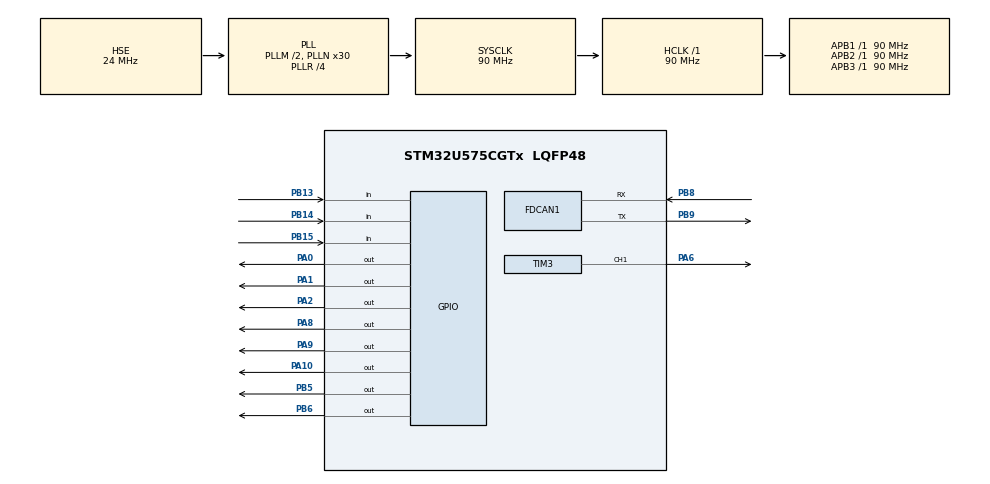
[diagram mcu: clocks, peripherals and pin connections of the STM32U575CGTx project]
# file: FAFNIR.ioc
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CORTEX_M33_NS.userName=CORTEX_M33
FDCAN1.CalculateBaudRateNominal=500000
FDCAN1.CalculateTimeBitNominal=2000
FDCAN1.CalculateTimeQuantumNominal=100.0
FDCAN1.Mode=FDCAN_MODE_NORMAL
FDCAN1.NominalPrescaler=9
FDCAN1.NominalSyncJumpWidth=2
FDCAN1.NominalTimeSeg1=14
FDCAN1.NominalTimeSeg2=5
FDCAN1.StdFiltersNbr=2
Mcu.Family=STM32U5
Mcu.Name=STM32U575CGTx
Mcu.Package=LQFP48
NVIC.FDCAN1_IT0_IRQn=true\:0\:0\:false\:false\:true\:true\:true\:true
NVIC.PriorityGroup=NVIC_PRIORITYGROUP_4
PA0.Signal=GPIO_Output
PA1.Signal=GPIO_Output
PA10.Signal=GPIO_Output
PA13\ (JTMS/SWDIO).Mode=Serial_Wire
PA13\ (JTMS/SWDIO).Signal=DEBUG_JTMS-SWDIO
PA14\ (JTCK/SWCLK).Mode=Serial_Wire
PA14\ (JTCK/SWCLK).Signal=DEBUG_JTCK-SWCLK
PA2.Signal=GPIO_Output
PA6.Signal=S_TIM3_CH1
PA8.Signal=GPIO_Output
PA9.Signal=GPIO_Output
PB13.Signal=GPIO_Input
PB14.Signal=GPIO_Input
PB15.Signal=GPIO_Input
PB5.Signal=GPIO_Output
PB6.Signal=GPIO_Output
PB8.Mode=FDCAN_Activate
PB8.Signal=FDCAN1_RX
PB9.Mode=FDCAN_Activate
PB9.Signal=FDCAN1_TX
PH0-OSC_IN\ (PH0).Mode=HSE-External-Oscillator
PH0-OSC_IN\ (PH0).Signal=RCC_OSC_IN
PH1-OSC_OUT\ (PH1).Mode=HSE-External-Oscillator
PH1-OSC_OUT\ (PH1).Signal=RCC_OSC_OUT
ProjectManager.HeapSize=0x200
ProjectManager.StackSize=0x400
ProjectManager.TargetToolchain=STM32CubeIDE
RCC.ADCFreq_Value=16000000
RCC.AHBFreq_Value=90000000
RCC.APB1Freq_Value=90000000
RCC.APB1TimFreq_Value=90000000
RCC.APB2Freq_Value=90000000
RCC.APB2TimFreq_Value=90000000
RCC.APB3Freq_Value=90000000
RCC.CortexFreq_Value=90000000
RCC.EPOD_VALUE=24000000
RCC.HCLKFreq_Value=90000000
RCC.HSE_VALUE=24000000
RCC.HSI48_VALUE=48000000
RCC.HSI_VALUE=16000000
RCC.LSE_VALUE=32768
RCC.LSIDIV_VALUE=32000
RCC.MSI_VALUE=4000000
RCC.PLL1Q=4
RCC.PLL1R=4
RCC.PLLFRACN=0
RCC.PLLM=2
RCC.PLLN=30
RCC.PLLSourceVirtual=RCC_PLLSOURCE_HSE
RCC.SYSCLKFreq_VALUE=90000000
RCC.SYSCLKSource=RCC_SYSCLKSOURCE_PLLCLK
RCC.USBFreq_Value=48000000
RCC.VCOOutputFreq_Value=360000000
SH.S_TIM3_CH1.0=TIM3_CH1,PWM Generation1 CH1
TIM3.Channel-PWM\ Generation1\ CH1=TIM_CHANNEL_1
TIM3.PeriodNoDither=20000-1
TIM3.Prescaler=90-1
VP_ICACHE_VS_ICACHE.Mode=DirectMappedCache
VP_LPBAMQUEUE_VS_QUEUE.Mode=QUEUEMODE
VP_MEMORYMAP_VS_MEMORYMAP.Mode=CurAppReg
VP_PWR_VS_SECSignals.Mode=Security/Privilege
board=custom

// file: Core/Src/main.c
/* USER CODE BEGIN Header */
/**
  ******************************************************************************
  * @file           : main.c
  * @brief          : Main program body
  ******************************************************************************
  * @attention
  *
  * Copyright (c) 2025 STMicroelectronics.
  * All rights reserved.
  *
  * This software is licensed under terms that can be found in the LICENSE file
  * in the root directory of this software component.
  * If no LICENSE file comes with this software, it is provided AS-IS.
  *
  ******************************************************************************
  */
/* USER CODE END Header */
#include "main.h"

FDCAN_HandleTypeDef hfdcan1;

TIM_HandleTypeDef htim3;

/* USER CODE BEGIN PV */

FDCAN_TxHeaderTypeDef TxHeader;
FDCAN_RxHeaderTypeDef RxHeader;
uint8_t	TxData[8];
uint8_t	RxData[8];

typedef enum {
    STATE_IDLE,
    STATE_INIT,
    STATE_READY,
    STATE_ACTUATE
} State;

typedef enum {
    CMD_NONE,
    CMD_SERVO_ZERO,
    CMD_SERVO_ROTATE,
    CMD_PYRO_ACTUATE,
    CMD_PYRO_DISABLE
} CommandType;

typedef struct {
    CommandType type;
    uint8_t pyroIndex;
    uint16_t angle;
} Command;

State servoState = STATE_IDLE;
State pyroState[NUM_PYROS] = {STATE_IDLE, STATE_IDLE, STATE_IDLE};
uint8_t pyroMask = 0b000;
uint16_t targetAngle = 0;

GPIO_TypeDef* const pyroPort = GPIOA;
const uint16_t pyroPins[NUM_PYROS] = {GPIO_PIN_8, GPIO_PIN_9, GPIO_PIN_10};

GPIO_TypeDef* const pyroDetectPort = GPIOB;
const uint16_t pyroDetectPins[NUM_PYROS] = {GPIO_PIN_15, GPIO_PIN_14, GPIO_PIN_13};

/* USER CODE END PV */

void SystemClock_Config(void);
static void MX_GPIO_Init(void);
static void MX_FDCAN1_Init(void);
static void MX_TIM3_Init(void);
static void MX_ICACHE_Init(void);

int main(void)
{

  /* MCU Configuration--------------------------------------------------------*/

  /* Reset of all peripherals, Initializes the Flash interface and the Systick. */
  HAL_Init();

  /* Configure the system clock */
  SystemClock_Config();

  /* Initialize all configured peripherals */
  MX_GPIO_Init();
  MX_FDCAN1_Init();
  MX_TIM3_Init();
  MX_ICACHE_Init();
  /* USER CODE BEGIN 2 */

   // Start FDCAN1 peripheral
   if (HAL_FDCAN_Start(&hfdcan1) != HAL_OK) {
        Error_Handler();
   }

   // Enable RX FIFO 0 Notification for incoming messages
   if (HAL_FDCAN_ActivateNotification(&hfdcan1, FDCAN_IT_RX_FIFO0_NEW_MESSAGE, 0) != HAL_OK) {
        Error_Handler();
   }

   Command test = {CMD_SERVO_ZERO, 0, 0}; //This should be ignored since servo is still in STATE_IDLE (and actually all systems are)
   processCommand(test);

   forceInit();
   processCommand(test);

  /* USER CODE END 2 */

  /* Infinite loop */
  /* USER CODE BEGIN WHILE */
  while (1) {

	    handleServo();

	    for (int i = 0; i < NUM_PYROS; i++) {
	        handlePyro(i);
	    }

	    /*
	    static uint32_t lastStatusTime = 0;

	    uint32_t now = HAL_GetTick();
	    if (now - lastStatusTime > 500) { //every 0.5 seconds
	        lastStatusTime = now;

	        uint8_t ready = systemReady();
	        uint8_t idle  = systemIdle();

	        uint8_t data[2] = {ready, idle};
	        can_send_std(CAN_ID_STATUS, data, sizeof(data));
	    }

	    */

	    HAL_Delay(20);

    /* USER CODE END WHILE */

  }
}

void SystemClock_Config(void)
{
  RCC_OscInitTypeDef RCC_OscInitStruct = {0};
  RCC_ClkInitTypeDef RCC_ClkInitStruct = {0};

  /** Configure the main internal regulator output voltage
  */
  if (HAL_PWREx_ControlVoltageScaling(PWR_REGULATOR_VOLTAGE_SCALE2) != HAL_OK)
  {
    Error_Handler();
  }

  /** Initializes the CPU, AHB and APB buses clocks
  */
  RCC_OscInitStruct.OscillatorType = RCC_OSCILLATORTYPE_HSE;
  RCC_OscInitStruct.HSEState = RCC_HSE_ON;
  RCC_OscInitStruct.PLL.PLLState = RCC_PLL_ON;
  RCC_OscInitStruct.PLL.PLLSource = RCC_PLLSOURCE_HSE;
  RCC_OscInitStruct.PLL.PLLMBOOST = RCC_PLLMBOOST_DIV2;
  RCC_OscInitStruct.PLL.PLLM = 2;
  RCC_OscInitStruct.PLL.PLLN = 30;
  RCC_OscInitStruct.PLL.PLLP = 2;
  RCC_OscInitStruct.PLL.PLLQ = 4;
  RCC_OscInitStruct.PLL.PLLR = 4;
  RCC_OscInitStruct.PLL.PLLRGE = RCC_PLLVCIRANGE_1;
  RCC_OscInitStruct.PLL.PLLFRACN = 0;
  if (HAL_RCC_OscConfig(&RCC_OscInitStruct) != HAL_OK)
  {
    Error_Handler();
  }

  /** Initializes the CPU, AHB and APB buses clocks
  */
  RCC_ClkInitStruct.ClockType = RCC_CLOCKTYPE_HCLK|RCC_CLOCKTYPE_SYSCLK
                              |RCC_CLOCKTYPE_PCLK1|RCC_CLOCKTYPE_PCLK2
                              |RCC_CLOCKTYPE_PCLK3;
  RCC_ClkInitStruct.SYSCLKSource = RCC_SYSCLKSOURCE_PLLCLK;
  RCC_ClkInitStruct.AHBCLKDivider = RCC_SYSCLK_DIV1;
  RCC_ClkInitStruct.APB1CLKDivider = RCC_HCLK_DIV1;
  RCC_ClkInitStruct.APB2CLKDivider = RCC_HCLK_DIV1;
  RCC_ClkInitStruct.APB3CLKDivider = RCC_HCLK_DIV1;

  if (HAL_RCC_ClockConfig(&RCC_ClkInitStruct, FLASH_LATENCY_2) != HAL_OK)
  {
    Error_Handler();
  }
}

static void MX_FDCAN1_Init(void)
{

  hfdcan1.Instance = FDCAN1;
  hfdcan1.Init.ClockDivider = FDCAN_CLOCK_DIV1;
  hfdcan1.Init.FrameFormat = FDCAN_FRAME_CLASSIC;
  hfdcan1.Init.Mode = FDCAN_MODE_NORMAL;
  hfdcan1.Init.AutoRetransmission = DISABLE;
  hfdcan1.Init.TransmitPause = DISABLE;
  hfdcan1.Init.ProtocolException = DISABLE;
  hfdcan1.Init.NominalPrescaler = 9;
  hfdcan1.Init.NominalSyncJumpWidth = 2;
  hfdcan1.Init.NominalTimeSeg1 = 14;
  hfdcan1.Init.NominalTimeSeg2 = 5;
  hfdcan1.Init.DataPrescaler = 1;
  hfdcan1.Init.DataSyncJumpWidth = 1;
  hfdcan1.Init.DataTimeSeg1 = 1;
  hfdcan1.Init.DataTimeSeg2 = 1;
  hfdcan1.Init.StdFiltersNbr = 2;
  hfdcan1.Init.ExtFiltersNbr = 0;
  hfdcan1.Init.TxFifoQueueMode = FDCAN_TX_FIFO_OPERATION;
  if (HAL_FDCAN_Init(&hfdcan1) != HAL_OK)
  {
    Error_Handler();
  }
  /* USER CODE BEGIN FDCAN1_Init 2 */

  HAL_NVIC_SetPriority(FDCAN1_IT0_IRQn, 0, 0);
  HAL_NVIC_EnableIRQ(FDCAN1_IT0_IRQn);

  FDCAN_FilterTypeDef sFilterConfig;

  // Filter for CAN_ID_SERVO_ZERO
  sFilterConfig.IdType = FDCAN_STANDARD_ID;
  sFilterConfig.FilterIndex = 0;
  sFilterConfig.FilterType = FDCAN_FILTER_MASK;
  sFilterConfig.FilterConfig = FDCAN_FILTER_TO_RXFIFO0;
  sFilterConfig.FilterID1 = CAN_ID_SERVO_ZERO ;
  sFilterConfig.FilterID2 = 0x7FF;
  HAL_FDCAN_ConfigFilter(&hfdcan1, &sFilterConfig);

  // Filter for CAN_ID_SERVO_ROTATE
   sFilterConfig.IdType = FDCAN_STANDARD_ID;
   sFilterConfig.FilterIndex = 1;
   sFilterConfig.FilterType = FDCAN_FILTER_MASK;
   sFilterConfig.FilterConfig = FDCAN_FILTER_TO_RXFIFO0;
   sFilterConfig.FilterID1 = CAN_ID_SERVO_ROTATE;
   sFilterConfig.FilterID2 = 0x7FF;
   HAL_FDCAN_ConfigFilter(&hfdcan1, &sFilterConfig);

  TxHeader.IdType              = FDCAN_STANDARD_ID;
  TxHeader.TxFrameType         = FDCAN_DATA_FRAME;
  TxHeader.FDFormat            = FDCAN_CLASSIC_CAN;
  TxHeader.BitRateSwitch       = FDCAN_BRS_OFF;
  TxHeader.ErrorStateIndicator = FDCAN_ESI_ACTIVE;
  TxHeader.TxEventFifoControl  = FDCAN_NO_TX_EVENTS;
  TxHeader.MessageMarker       = 0;

  /* USER CODE END FDCAN1_Init 2 */

}

static void MX_ICACHE_Init(void)
{

  /** Enable instruction cache in 1-way (direct mapped cache)
  */
  if (HAL_ICACHE_ConfigAssociativityMode(ICACHE_1WAY) != HAL_OK)
  {
    Error_Handler();
  }
  if (HAL_ICACHE_Enable() != HAL_OK)
  {
    Error_Handler();
  }

}

static void MX_TIM3_Init(void)
{

  TIM_MasterConfigTypeDef sMasterConfig = {0};
  TIM_OC_InitTypeDef sConfigOC = {0};

  htim3.Instance = TIM3;
  htim3.Init.Prescaler = 90-1;
  htim3.Init.CounterMode = TIM_COUNTERMODE_UP;
  htim3.Init.Period = 19999;
  htim3.Init.ClockDivision = TIM_CLOCKDIVISION_DIV1;
  htim3.Init.AutoReloadPreload = TIM_AUTORELOAD_PRELOAD_DISABLE;
  if (HAL_TIM_PWM_Init(&htim3) != HAL_OK)
  {
    Error_Handler();
  }
  sMasterConfig.MasterOutputTrigger = TIM_TRGO_RESET;
  sMasterConfig.MasterSlaveMode = TIM_MASTERSLAVEMODE_DISABLE;
  if (HAL_TIMEx_MasterConfigSynchronization(&htim3, &sMasterConfig) != HAL_OK)
  {
    Error_Handler();
  }
  sConfigOC.OCMode = TIM_OCMODE_PWM1;
  sConfigOC.Pulse = 0;
  sConfigOC.OCPolarity = TIM_OCPOLARITY_HIGH;
  sConfigOC.OCFastMode = TIM_OCFAST_DISABLE;
  if (HAL_TIM_PWM_ConfigChannel(&htim3, &sConfigOC, TIM_CHANNEL_1) != HAL_OK)
  {
    Error_Handler();
  }
  HAL_TIM_MspPostInit(&htim3);

}

static void MX_GPIO_Init(void)
{
  GPIO_InitTypeDef GPIO_InitStruct = {0};

  /* GPIO Ports Clock Enable */
  __HAL_RCC_GPIOH_CLK_ENABLE();
  __HAL_RCC_GPIOA_CLK_ENABLE();
  __HAL_RCC_GPIOB_CLK_ENABLE();

  /*Configure GPIO pin Output Level */
  HAL_GPIO_WritePin(GPIOA, GPIO_PIN_0|GPIO_PIN_1|GPIO_PIN_2|GPIO_PIN_8
                          |GPIO_PIN_9|GPIO_PIN_10, GPIO_PIN_RESET);

  /*Configure GPIO pin Output Level */
  HAL_GPIO_WritePin(GPIOB, GPIO_PIN_5|GPIO_PIN_6, GPIO_PIN_RESET);

  /*Configure GPIO pins : PA0 PA1 PA2 PA8
                           PA9 PA10 */
  GPIO_InitStruct.Pin = GPIO_PIN_0|GPIO_PIN_1|GPIO_PIN_2|GPIO_PIN_8
                          |GPIO_PIN_9|GPIO_PIN_10;
  GPIO_InitStruct.Mode = GPIO_MODE_OUTPUT_PP;
  GPIO_InitStruct.Pull = GPIO_NOPULL;
  GPIO_InitStruct.Speed = GPIO_SPEED_FREQ_LOW;
  HAL_GPIO_Init(GPIOA, &GPIO_InitStruct);

  /*Configure GPIO pins : PB13 PB14 PB15 */
  GPIO_InitStruct.Pin = GPIO_PIN_13|GPIO_PIN_14|GPIO_PIN_15;
  GPIO_InitStruct.Mode = GPIO_MODE_INPUT;
  GPIO_InitStruct.Pull = GPIO_NOPULL;
  HAL_GPIO_Init(GPIOB, &GPIO_InitStruct);

  /*Configure GPIO pins : PB5 PB6 */
  GPIO_InitStruct.Pin = GPIO_PIN_5|GPIO_PIN_6;
  GPIO_InitStruct.Mode = GPIO_MODE_OUTPUT_PP;
  GPIO_InitStruct.Pull = GPIO_NOPULL;
  GPIO_InitStruct.Speed = GPIO_SPEED_FREQ_LOW;
  HAL_GPIO_Init(GPIOB, &GPIO_InitStruct);

}

/* USER CODE BEGIN 4 */

void processCommand(Command cmd) {

	if (systemIdle()) return; //not so sure abt this

    switch (cmd.type) {
        case CMD_SERVO_ZERO:
            servoState = STATE_INIT;
            break;

        case CMD_SERVO_ROTATE:
            targetAngle = cmd.angle;
            if (servoState == STATE_READY) servoState = STATE_ACTUATE;
            break;

        case CMD_PYRO_ACTUATE:
            if (cmd.pyroIndex < NUM_PYROS && pyroState[cmd.pyroIndex] == STATE_READY)
                pyroState[cmd.pyroIndex] = STATE_ACTUATE;
            break;

        case CMD_PYRO_DISABLE:
            if (cmd.pyroIndex < NUM_PYROS)
                pyroState[cmd.pyroIndex] = STATE_INIT;
            break;

        default:
            break;
    }
}

uint8_t systemReady(void) {
    if (servoState != STATE_READY)
        return 0;

    for (int i = 0; i < NUM_PYROS; i++) {
        if (pyroState[i] != STATE_READY)
            return 0;
    }

    return 1;
} //essentially just check that everything is in the READY state for the first time, send this via CAN to Fjalar

uint8_t systemIdle(void) {
	  if (servoState == STATE_IDLE) return 1;

	    for (int i = 0; i < NUM_PYROS; i++) {
	        if (pyroState[i] == STATE_IDLE)
	            return 1;
	    }

	    return 0;
}

void handleServo(void) {
    switch (servoState) {
        case STATE_IDLE:
            //Do nothing until we receive some initial command
            break;

        case STATE_INIT:
            servoZero();
            servoState = STATE_READY;
            break;

        case STATE_READY:
            //Wait for rotation command
            break;

        case STATE_ACTUATE:
            servoRotate(targetAngle);
            printf("Servo Rotated\n");
            servoState = STATE_READY;
            break;
    }
}

void handlePyro(int i) {
    switch (pyroState[i]) {
        case STATE_IDLE:
            //Do nothing until we receive some initial command
            break;

        case STATE_INIT:
            pyroActuate(i, 0);
            if (pyroDetect(i) == 0) { //Low = continuity detected
                pyroState[i] = STATE_READY;
                printf("[Pyro %d] Continuity OK\n", i);
            }
            break;

        case STATE_READY:
            // WAit for actuation command
            break;

        case STATE_ACTUATE:
            pyroActuate(i, 1);
            //remain active until the CMD_PYRO_DISABLE is received
            break;
    }
}

void forceInit(void) {
	//USED ONLY FOR DEBUGGING
	servoState = STATE_INIT;
	for (int i = 0; i < NUM_PYROS; i++)
	    pyroState[i] = STATE_INIT;
}

void pyroActuate(uint8_t index, uint8_t state) {
	if (index >= NUM_PYROS) return;
	HAL_GPIO_WritePin(pyroPort, pyroPins[index], state ? GPIO_PIN_SET : GPIO_PIN_RESET);

    if (state) {
    	pyroMask |=  (1 << index); //set union
    } else {
    	pyroMask &= ~(1 << index); //set intersection
    }

}

uint8_t pyroDetect(uint8_t index) {
	if (index >= NUM_PYROS) return 69; //69 means error
    //LOW = continuity detected (return 0)
    //HIGH = open circuit (return 1)

	GPIO_PinState state = HAL_GPIO_ReadPin(pyroDetectPort, pyroDetectPins[index]);

    return (state == GPIO_PIN_RESET) ? 0 : 1;
}

void HAL_FDCAN_RxFifo0Callback(FDCAN_HandleTypeDef *hfdcan, uint32_t it)
{
    if ((it & FDCAN_IT_RX_FIFO0_NEW_MESSAGE) == 0) return;

    FDCAN_RxHeaderTypeDef rx;
    uint8_t d[8];

    if (HAL_FDCAN_GetRxMessage(hfdcan, FDCAN_RX_FIFO0, &rx, d) != HAL_OK) return;

    uint8_t n = getDataLength(&rx);

    switch (rx.Identifier) {

      case CAN_ID_SERVO_ZERO:
         if (n >= 1 && d[0] == 1) {
             //servoZeroRequested = true;
         }
        break;

      case CAN_ID_SERVO_ROTATE:
        if (n >= 2) {
          //int dir = d[0] ? +1 : -1;
          //uint8_t rotation = d[1];
          //servoAngle = (float)(dir * rotation);
          //servoRotateRequested = true;
        }
        break;

      default:
        // Optionally increment error counter here
        break;
    }
}

void can_send_std(uint16_t id, const uint8_t *data, uint8_t len)
{
    TxHeader.Identifier = id;
    switch (len) {
      case 0:  TxHeader.DataLength = FDCAN_DLC_BYTES_0; break;
      case 1:  TxHeader.DataLength = FDCAN_DLC_BYTES_1; break;
      case 2:  TxHeader.DataLength = FDCAN_DLC_BYTES_2; break;
      case 3:  TxHeader.DataLength = FDCAN_DLC_BYTES_3; break;
      case 4:  TxHeader.DataLength = FDCAN_DLC_BYTES_4; break;
      case 5:  TxHeader.DataLength = FDCAN_DLC_BYTES_5; break;
      case 6:  TxHeader.DataLength = FDCAN_DLC_BYTES_6; break;
      case 7:  TxHeader.DataLength = FDCAN_DLC_BYTES_7; break;
      default: TxHeader.DataLength = FDCAN_DLC_BYTES_8; break;
    }
    HAL_FDCAN_AddMessageToTxFifoQ(&hfdcan1, &TxHeader,
                                  (len && data) ? (uint8_t*)data : NULL);
}

uint8_t getDataLength(FDCAN_RxHeaderTypeDef *hdr) {
  switch (hdr->DataLength) {
    case FDCAN_DLC_BYTES_0: return 0;
    case FDCAN_DLC_BYTES_1: return 1;
    case FDCAN_DLC_BYTES_2: return 2;
    case FDCAN_DLC_BYTES_3: return 3;
    case FDCAN_DLC_BYTES_4: return 4;
    case FDCAN_DLC_BYTES_5: return 5;
    case FDCAN_DLC_BYTES_6: return 6;
    case FDCAN_DLC_BYTES_7: return 7;
    case FDCAN_DLC_BYTES_8: return 8;
    default: return 0;
  }
}

void setPWM(TIM_HandleTypeDef *timer_handle, uint32_t timer_channel, float duty) {

    uint32_t arr = __HAL_TIM_GET_AUTORELOAD(timer_handle);
    uint32_t ccr = (uint32_t)((duty * (float)(arr + 1U)) + 0.5f);
    if (ccr > arr) ccr = arr;
    __HAL_TIM_SET_COMPARE(timer_handle, timer_channel, ccr);
}

void servoZero(void) {
	HAL_TIM_PWM_Start(&MOTOR_TIMER_HANDLE, MOTOR_TIMER_CHANNEL);
	servoRotate(0.0f);
}

void servoRotate(float angle) {
	//The angle is mapped to -135 to 135 to properly represent CW and CCW rotations
	//Input of +90 == 90 deg rotation CW from the zero position.

	if (angle < -135 || angle > 135) return;
	angle = 135.0f + angle; //135 degrees is the zero/middle position, since the servo motor can rotate 270 deg

	float degRatio = angle / 270.0f;

	TIM_HandleTypeDef *htim = &MOTOR_TIMER_HANDLE;
	float duty = degRatio * 0.10f + 0.025f;  //mapping to 2.5%–12.5% duty cycle
	setPWM(htim, MOTOR_TIMER_CHANNEL, duty);

}

/* USER CODE END 4 */

void Error_Handler(void)
{
  __disable_irq();
  while (1)
  {
  }
}
